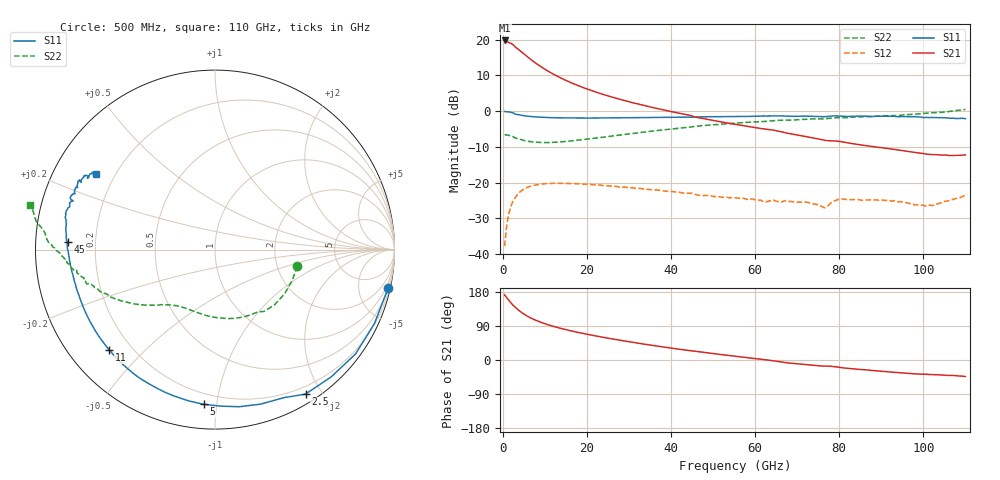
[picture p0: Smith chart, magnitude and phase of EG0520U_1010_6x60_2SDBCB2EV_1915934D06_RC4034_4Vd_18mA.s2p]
!File name = EG0520U_1010_6x60_2SDBCB2EV_1915934D06_RC4034_4Vd_18mA.s2p
!Base file name = EG0520U_1010_6x60_2SDBCB2EV_1915934D06_RC4034
!Date = 8/23/2019
!Time = 12:59 PM
!Test duration(min) = 0.15
!Test = S-Parameters
!MPTS version = 8.91.5
!State File = C:\Data\PNA\20190821205423\S-Parameters_2019-08-23.sta
!Cal File =
!ComputerName = CMPE-LAB-6
!Comments =
!Attenuation = 0
!Z0 = 50
!Input Power(dBm) = -13.00
!Device ID = EG0520U_1010_6x60_2SDBCB2EV
!Row = 40
!Column = 34
!Technology = QPHT09
!Lot/Wafer = 1915934D06
!Gate Size = 360
!Mask = EG0520
!Cal Standards = GaAs BCB
!Cal Kit = EG2306
!Job Number = 20190821205423
!Device Type = FET
!set_Vg(v) = -1.500
!set_Vd(v) = 4.000
!set_Vd(mA) = 18.000
!file_name = EG0520U_1010_6x60_2SDBCB2EV_1915934D06_RC4034_4Vd_18mA.s2p
!Vd(V) = 4.000
!Vd(mA) = 17.909
!Vg(V) = -0.658
!Vg(mA) = -0.011
# GHz  S  DB  R  50
!%	Freq(GHz)  s11(dB)  s11(deg)  s21(dB)  s21(deg)  s12(dB)  s12(deg)  s22(dB)  s22(deg)
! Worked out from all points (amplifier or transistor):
!   220 points, 500 MHz to 110 GHz, reference 50 ohm
!   highest |S21| = 19.8 dB at 500 MHz (marker M1)
!   |S21| within 3 dB of that: start of sweep to 4.277 GHz
!   unconditionally stable (mu >= 1): 35.82 GHz to 101.1 GHz
!   at 18.5 GHz: K = 0.51, MSG = 13.6 dB, |S12| = -20.4 dB
!   at 55.5 GHz: K = 1.44, MAG = 6.3 dB, |S12| = -24.2 dB
!   at 110 GHz: K = -2.21, MSG = 5.7 dB, |S12| = -23.6 dB
!   S11 on the Smith chart (normalised r, x): 500 MHz: 0.49, -9.09; 2.5 GHz: 0.11, -1.80; 5 GHz: 0.14, -0.92; 11 GHz: 0.12, -0.39; 45 GHz: 0.10, +0.03; 110 GHz: 0.13, +0.29
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0.5  -0.10 -12.5  19.77 172.0  -37.80 80.3  -6.59 -11.4
1  -0.18 -24.8  19.48 164.3  -31.97 74.5  -6.68 -22.0
2  -0.35 -47.5  18.97 150.7  -26.61 61.8  -6.89 -42.7
2.5  -0.45 -57.9  18.61 144.7  -25.14 56.4  -7.13 -51.5
3  -0.82 -65.0  17.98 139.4  -24.27 52.1  -7.49 -55.1
3.5  -0.94 -73.6  17.54 134.5  -23.42 47.7  -7.67 -62.1
4.5  -1.18 -87.9  16.55 125.6  -22.27 40.1  -8.01 -74.4
5  -1.27 -94.1  16.06 121.8  -21.87 36.9  -8.16 -79.6
6  -1.43 -104.9  15.11 115.0  -21.29 31.5  -8.43 -88.6
7.5  -1.60 -117.5  13.76 106.7  -20.76 24.9  -8.65 -99.0
9  -1.70 -126.8  12.53 100.0  -20.44 20.0  -8.77 -106.0
11  -1.80 -136.6  11.07 92.4  -20.25 14.5  -8.79 -113.6
14.5  -1.90 -148.6  8.91 81.6  -20.21 7.7  -8.54 -122.3
19  -1.94 -158.5  6.66 70.4  -20.39 1.5  -8.00 -129.3
27  -1.90 -169.2  3.59 53.9  -21.06 -5.5  -6.82 -137.3
37  -1.77 -177.7  0.66 36.3  -22.08 -9.9  -5.40 -145.6
45  -1.70 177.0  -1.30 23.8  -22.98 -11.8  -4.41 -152.0
55.5  -1.52 170.8  -3.73 9.8  -24.25 -12.6  -3.34 -160.0
73.5  -1.46 161.6  -7.45 -13.8  -25.89 -15.4  -2.16 -170.3
92  -1.46 153.0  -10.54 -31.6  -24.97 -24.0  -1.27 -178.7
100.5  -1.78 150.8  -11.99 -37.8  -26.55 -23.4  -0.60 177.0
110  -2.11 147.6  -12.23 -43.6  -23.61 -21.4  0.49 166.3
